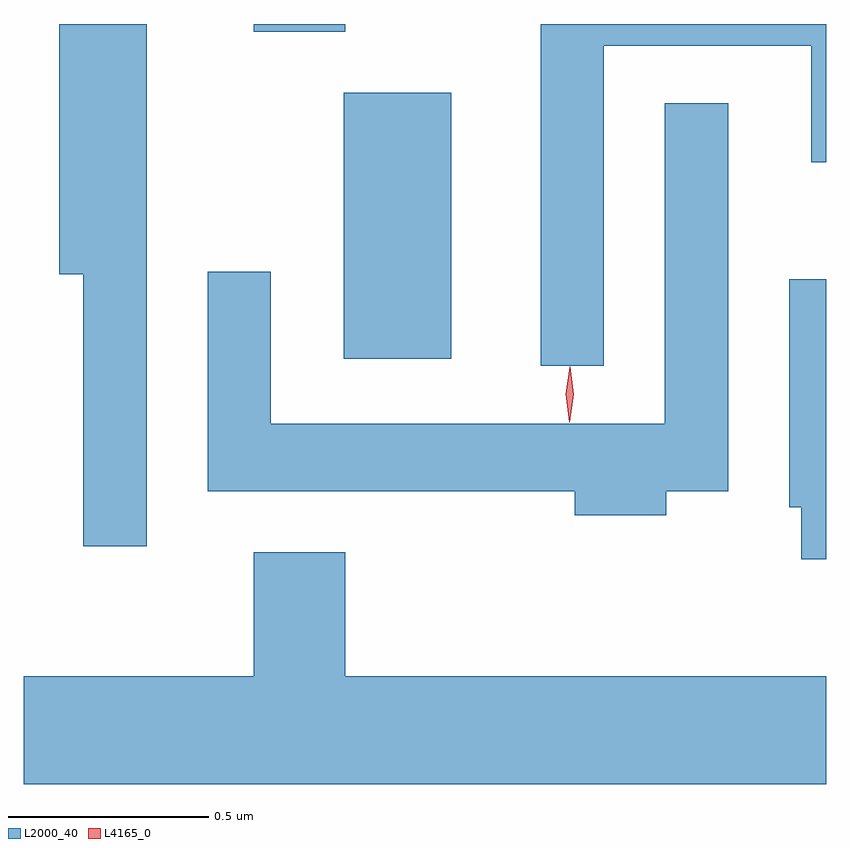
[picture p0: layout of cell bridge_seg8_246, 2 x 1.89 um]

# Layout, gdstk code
import gdstk
lib = gdstk.Library(unit=1e-6, precision=1e-09)
def R(c, l, rs):  # rectangles x0, y0, x1, y1
    for r in rs: c.add(gdstk.rectangle(r[:2], r[2:], *l))
def P(c, l, *ps):  # polygons
    for p in ps: c.add(gdstk.Polygon(p, *l))
L2000_40 = (2000, 40)
L4165_0 = (4165, 0)

bridge_seg8_246 = lib.new_cell('bridge_seg8_246')
R(bridge_seg8_246, L2000_40, [(1091.426,1872.996,1091.694,1873.659), (1091.201,1873.811,1091.429,1873.83)])
P(bridge_seg8_246, L2000_40, [(1090.934,1873.83),(1090.716,1873.83),(1090.716,1873.206),(1090.776,1873.206),(1090.776,1872.528),(1090.934,1872.528)],
  [(1092.074,1873.776),(1092.591,1873.776),(1092.591,1873.486),(1092.628,1873.486),(1092.628,1873.83),(1091.916,1873.83),(1091.916,1872.978),(1092.074,1872.978)],
  [(1092.229,1872.666),(1092.384,1872.666),(1092.384,1873.633),(1092.226,1873.633),(1092.226,1872.834),(1091.244,1872.834),(1091.244,1873.213),(1091.086,1873.213),(1091.086,1872.666),(1092.001,1872.666),(1092.001,1872.606),(1092.229,1872.606)],
  [(1092.628,1873.194),(1092.536,1873.194),(1092.536,1872.626),(1092.566,1872.626),(1092.566,1872.496),(1092.628,1872.496)],
  [(1092.628,1872.204),(1091.429,1872.204),(1091.429,1872.514),(1091.201,1872.514),(1091.201,1872.204),(1090.628,1872.204),(1090.628,1871.936),(1092.628,1871.936)])
P(bridge_seg8_246, L4165_0, [(1091.989,1872.837),(1091.988,1872.838),(1091.979,1872.907),(1091.989,1872.976),(1091.99,1872.976),(1091.99,1872.976),(1091.999,1872.907),(1091.989,1872.838)])

lib.write_gds('bridge_seg8_246.gds')
